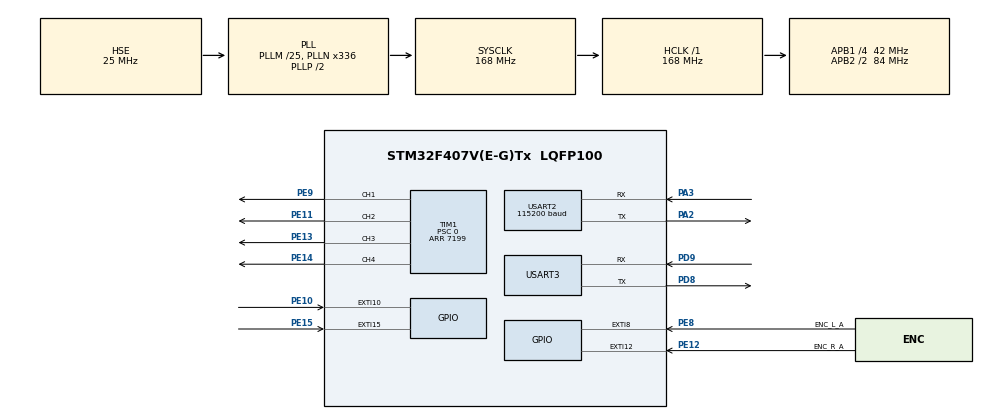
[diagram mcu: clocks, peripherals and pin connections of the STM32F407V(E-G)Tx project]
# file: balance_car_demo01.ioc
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Dma.Request0=USART2_RX
Dma.USART2_RX.0.Direction=DMA_PERIPH_TO_MEMORY
Dma.USART2_RX.0.FIFOMode=DMA_FIFOMODE_DISABLE
Dma.USART2_RX.0.Instance=DMA1_Stream5
Dma.USART2_RX.0.MemDataAlignment=DMA_MDATAALIGN_BYTE
Dma.USART2_RX.0.MemInc=DMA_MINC_ENABLE
Dma.USART2_RX.0.Mode=DMA_NORMAL
Dma.USART2_RX.0.PeriphDataAlignment=DMA_PDATAALIGN_BYTE
Dma.USART2_RX.0.PeriphInc=DMA_PINC_DISABLE
Dma.USART2_RX.0.Priority=DMA_PRIORITY_HIGH
FREERTOS.Tasks01=defaultTask,0,128,StartDefaultTask,Default,NULL,Dynamic,NULL,NULL;process,-3,256,main_process,Default,NULL,Dynamic,NULL,NULL
Mcu.Family=STM32F4
Mcu.Name=STM32F407V(E-G)Tx
Mcu.Package=LQFP100
NVIC.DMA1_Stream5_IRQn=true\:6\:0\:true\:false\:true\:true\:false\:true\:true
NVIC.EXTI15_10_IRQn=true\:2\:0\:true\:false\:true\:false\:true\:true\:true
NVIC.EXTI9_5_IRQn=true\:2\:0\:true\:false\:true\:false\:true\:true\:true
NVIC.PriorityGroup=NVIC_PRIORITYGROUP_4
NVIC.TIM2_IRQn=true\:15\:0\:false\:false\:true\:false\:false\:true\:true
NVIC.TimeBase=TIM2_IRQn
NVIC.TimeBaseIP=TIM2
NVIC.USART2_IRQn=true\:5\:0\:false\:false\:true\:true\:true\:true\:true
NVIC.USART3_IRQn=true\:5\:0\:false\:false\:true\:true\:true\:true\:true
PA2.GPIO_PuPd=GPIO_PULLUP
PA2.Mode=Asynchronous
PA2.Signal=USART2_TX
PA3.GPIO_PuPd=GPIO_PULLUP
PA3.Mode=Asynchronous
PA3.Signal=USART2_RX
PD8.Mode=Asynchronous
PD8.Signal=USART3_TX
PD9.Mode=Asynchronous
PD9.Signal=USART3_RX
PE10.GPIO_ModeDefaultEXTI=GPIO_MODE_IT_RISING_FALLING
PE10.GPIO_PuPd=GPIO_PULLUP
PE10.Signal=GPXTI10
PE11.Signal=S_TIM1_CH2
PE12.GPIO_Label=ENC_R_A
PE12.GPIO_ModeDefaultEXTI=GPIO_MODE_IT_RISING_FALLING
PE12.GPIO_PuPd=GPIO_PULLUP
PE12.Signal=GPXTI12
PE13.Signal=S_TIM1_CH3
PE14.Signal=S_TIM1_CH4
PE15.GPIO_ModeDefaultEXTI=GPIO_MODE_IT_RISING_FALLING
PE15.GPIO_PuPd=GPIO_PULLUP
PE15.Signal=GPXTI15
PE8.GPIO_Label=ENC_L_A
PE8.GPIO_ModeDefaultEXTI=GPIO_MODE_IT_RISING_FALLING
PE8.GPIO_PuPd=GPIO_PULLUP
PE8.Signal=GPXTI8
PE9.Signal=S_TIM1_CH1
PH0-OSC_IN.Mode=HSE-External-Oscillator
PH0-OSC_IN.Signal=RCC_OSC_IN
PH1-OSC_OUT.Mode=HSE-External-Oscillator
PH1-OSC_OUT.Signal=RCC_OSC_OUT
ProjectManager.HeapSize=0x200
ProjectManager.StackSize=0x400
ProjectManager.TargetToolchain=MDK-ARM V5.32
RCC.48MHZClocksFreq_Value=84000000
RCC.AHBFreq_Value=168000000
RCC.APB1CLKDivider=RCC_HCLK_DIV4
RCC.APB1Freq_Value=42000000
RCC.APB1TimFreq_Value=84000000
RCC.APB2CLKDivider=RCC_HCLK_DIV2
RCC.APB2Freq_Value=84000000
RCC.APB2TimFreq_Value=168000000
RCC.CortexFreq_Value=168000000
RCC.HCLKFreq_Value=168000000
RCC.HSE_VALUE=25000000
RCC.HSI_VALUE=16000000
RCC.LSE_VALUE=32768
RCC.PLLM=25
RCC.PLLN=336
RCC.PLLSourceVirtual=RCC_PLLSOURCE_HSE
RCC.SYSCLKFreq_VALUE=168000000
RCC.SYSCLKSource=RCC_SYSCLKSOURCE_PLLCLK
RCC.VCOOutputFreq_Value=336000000
SH.S_TIM1_CH1.0=TIM1_CH1,PWM Generation1 CH1
SH.S_TIM1_CH2.0=TIM1_CH2,PWM Generation2 CH2
SH.S_TIM1_CH3.0=TIM1_CH3,PWM Generation3 CH3
SH.S_TIM1_CH4.0=TIM1_CH4,PWM Generation4 CH4
TIM1.Channel-PWM\ Generation1\ CH1=TIM_CHANNEL_1
TIM1.Channel-PWM\ Generation2\ CH2=TIM_CHANNEL_2
TIM1.Channel-PWM\ Generation3\ CH3=TIM_CHANNEL_3
TIM1.Channel-PWM\ Generation4\ CH4=TIM_CHANNEL_4
TIM1.Period=7199
TIM1.Prescaler=0
USART2.BaudRate=115200
USART2.VirtualMode=VM_ASYNC
USART3.VirtualMode=VM_ASYNC
VP_FREERTOS_VS_CMSIS_V1.Mode=CMSIS_V1
VP_SYS_VS_tim2.Mode=TIM2
VP_TIM1_VS_ClockSourceINT.Mode=Internal
board=custom

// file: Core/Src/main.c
/* USER CODE BEGIN Header */
/**
  ******************************************************************************
  * @file           : main.c
  * @brief          : Main program body
  ******************************************************************************
  * @attention
  *
  * Copyright (c) 2025 STMicroelectronics.
  * All rights reserved.
  *
  * This software is licensed under terms that can be found in the LICENSE file
  * in the root directory of this software component.
  * If no LICENSE file comes with this software, it is provided AS-IS.
  *
  ******************************************************************************
  */
/* USER CODE END Header */
#include "main.h"
#include "cmsis_os.h"
#include "dma.h"
#include "tim.h"
#include "usart.h"
#include "gpio.h"

/* USER CODE BEGIN Includes */
#include "motor_driver.h"
#include "control.h"
/* USER CODE END Includes */

void SystemClock_Config(void);
void MX_FREERTOS_Init(void);

/* USER CODE BEGIN 0 */
uint8_t mpu6050_data_buffer[30];
extern uint8_t rx_temp_byte;
/* USER CODE END 0 */

int main(void)
{

  /* MCU Configuration--------------------------------------------------------*/

  /* Reset of all peripherals, Initializes the Flash interface and the Systick. */
  HAL_Init();

  /* Configure the system clock */
  SystemClock_Config();

  /* Initialize all configured peripherals */
  MX_GPIO_Init();
  MX_DMA_Init();
  MX_USART2_UART_Init();
  MX_TIM1_Init();
  MX_USART3_UART_Init();
  /* USER CODE BEGIN 2 */
	Motor_Init();
	control_init();
HAL_UART_Receive_IT(&huart3, &rx_temp_byte, 1);
	HAL_UARTEx_ReceiveToIdle_DMA(&huart2,(uint8_t *)mpu6050_data_buffer,11);

  /* USER CODE END 2 */

  /* Call init function for freertos objects (in cmsis_os2.c) */
  MX_FREERTOS_Init();

  /* Start scheduler */
  osKernelStart();

  /* We should never get here as control is now taken by the scheduler */

  /* Infinite loop */
  while (1)
  {

  }
}

void SystemClock_Config(void)
{
  RCC_OscInitTypeDef RCC_OscInitStruct = {0};
  RCC_ClkInitTypeDef RCC_ClkInitStruct = {0};

  /** Configure the main internal regulator output voltage
  */
  __HAL_RCC_PWR_CLK_ENABLE();
  __HAL_PWR_VOLTAGESCALING_CONFIG(PWR_REGULATOR_VOLTAGE_SCALE1);

  /** Initializes the RCC Oscillators according to the specified parameters
  * in the RCC_OscInitTypeDef structure.
  */
  RCC_OscInitStruct.OscillatorType = RCC_OSCILLATORTYPE_HSE;
  RCC_OscInitStruct.HSEState = RCC_HSE_ON;
  RCC_OscInitStruct.PLL.PLLState = RCC_PLL_ON;
  RCC_OscInitStruct.PLL.PLLSource = RCC_PLLSOURCE_HSE;
  RCC_OscInitStruct.PLL.PLLM = 25;
  RCC_OscInitStruct.PLL.PLLN = 336;
  RCC_OscInitStruct.PLL.PLLP = RCC_PLLP_DIV2;
  RCC_OscInitStruct.PLL.PLLQ = 4;
  if (HAL_RCC_OscConfig(&RCC_OscInitStruct) != HAL_OK)
  {
    Error_Handler();
  }

  /** Initializes the CPU, AHB and APB buses clocks
  */
  RCC_ClkInitStruct.ClockType = RCC_CLOCKTYPE_HCLK|RCC_CLOCKTYPE_SYSCLK
                              |RCC_CLOCKTYPE_PCLK1|RCC_CLOCKTYPE_PCLK2;
  RCC_ClkInitStruct.SYSCLKSource = RCC_SYSCLKSOURCE_PLLCLK;
  RCC_ClkInitStruct.AHBCLKDivider = RCC_SYSCLK_DIV1;
  RCC_ClkInitStruct.APB1CLKDivider = RCC_HCLK_DIV4;
  RCC_ClkInitStruct.APB2CLKDivider = RCC_HCLK_DIV2;

  if (HAL_RCC_ClockConfig(&RCC_ClkInitStruct, FLASH_LATENCY_5) != HAL_OK)
  {
    Error_Handler();
  }
}

void HAL_TIM_PeriodElapsedCallback(TIM_HandleTypeDef *htim)
{
  if (htim->Instance == TIM2) {
    HAL_IncTick();
  }
}

void Error_Handler(void)
{
  __disable_irq();
  while (1)
  {
  }
}

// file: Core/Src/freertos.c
/* USER CODE BEGIN Header */
/**
  ******************************************************************************
  * File Name          : freertos.c
  * Description        : Code for freertos applications
  ******************************************************************************
  * @attention
  *
  * Copyright (c) 2025 STMicroelectronics.
  * All rights reserved.
  *
  * This software is licensed under terms that can be found in the LICENSE file
  * in the root directory of this software component.
  * If no LICENSE file comes with this software, it is provided AS-IS.
  *
  ******************************************************************************
  */
/* USER CODE END Header */

#include "FreeRTOS.h"
#include "task.h"
#include "main.h"
#include "cmsis_os.h"

/* USER CODE BEGIN Includes */
#include "control.h"
#include "encoder.h"
/* USER CODE END Includes */

/* USER CODE BEGIN PTD */
extern uint8_t key_d1, key_d2, key_d3, key_d4;
extern float target_speed;

/* USER CODE END PTD */

osThreadId defaultTaskHandle;
osThreadId processHandle;

void StartDefaultTask(void const * argument);
void main_process(void const * argument);

void MX_FREERTOS_Init(void); /* (MISRA C 2004 rule 8.1) */

/* GetIdleTaskMemory prototype (linked to static allocation support) */
void vApplicationGetIdleTaskMemory( StaticTask_t **ppxIdleTaskTCBBuffer, StackType_t **ppxIdleTaskStackBuffer, uint32_t *pulIdleTaskStackSize );

/* USER CODE BEGIN GET_IDLE_TASK_MEMORY */
static StaticTask_t xIdleTaskTCBBuffer;
static StackType_t xIdleStack[configMINIMAL_STACK_SIZE];

void vApplicationGetIdleTaskMemory( StaticTask_t **ppxIdleTaskTCBBuffer, StackType_t **ppxIdleTaskStackBuffer, uint32_t *pulIdleTaskStackSize )
{
  *ppxIdleTaskTCBBuffer = &xIdleTaskTCBBuffer;
  *ppxIdleTaskStackBuffer = &xIdleStack[0];
  *pulIdleTaskStackSize = configMINIMAL_STACK_SIZE;
  /* place for user code */
}
/* USER CODE END GET_IDLE_TASK_MEMORY */

void MX_FREERTOS_Init(void) {

  /* Create the thread(s) */
  /* definition and creation of defaultTask */
  osThreadDef(defaultTask, StartDefaultTask, osPriorityNormal, 0, 128);
  defaultTaskHandle = osThreadCreate(osThread(defaultTask), NULL);

  /* definition and creation of process */
  osThreadDef(process, main_process, osPriorityIdle, 0, 256);
  processHandle = osThreadCreate(osThread(process), NULL);

}

void StartDefaultTask(void const * argument)
{
  /* USER CODE BEGIN StartDefaultTask */
  /* Infinite loop */
  for(;;)
  {
		if(key_d3==0){
			target_speed --;
		}
		if(key_d4==0){
			target_speed ++;
		}
    osDelay(50);
  }
  /* USER CODE END StartDefaultTask */
}

void main_process(void const * argument)
{
  /* USER CODE BEGIN main_process */
  /* Infinite loop */
  for(;;)
  {
		if(key_d1==1){
		task();
		}
		else{
		Motor_SetOutput(0,0);
		}
    osDelay(10);
  }
  /* USER CODE END main_process */
}
